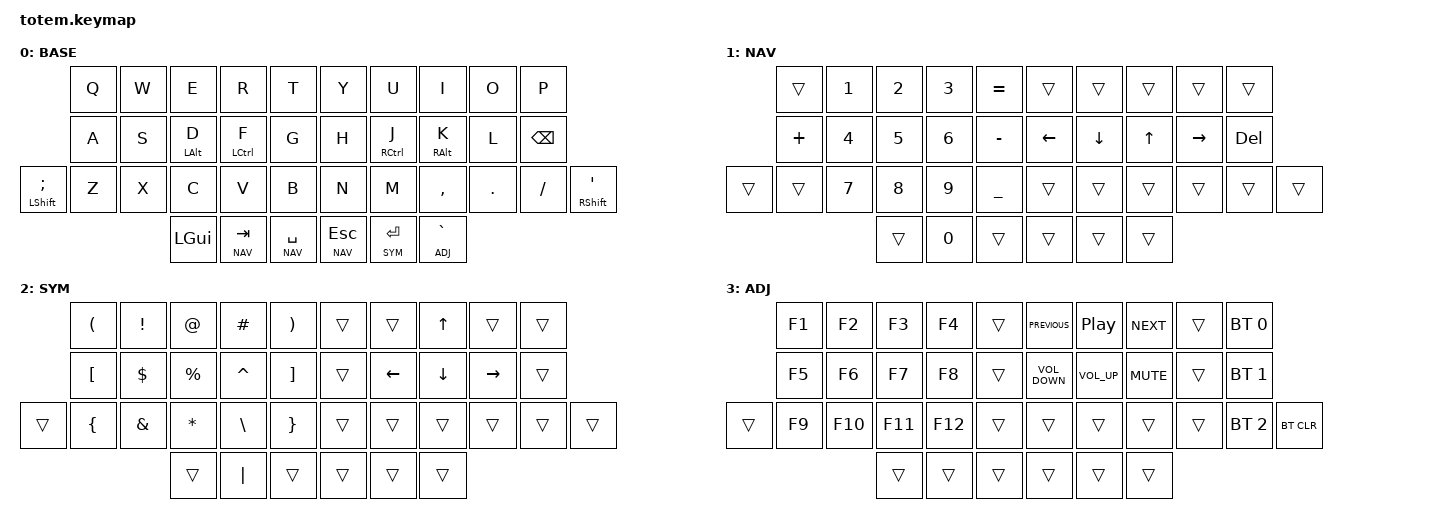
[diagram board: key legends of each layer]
//
//                                                        ▀▀▀▀▀     ▀▀▀▀▀          ▀▀█▀▀
//                                                        ▄▀▀▀▄  ▄  ▄▀▀▀▄  ▄  ▄▀▀▀▄  █  ▄▀▀▀▄
//                                                        █   █  █  █   █  █  █   █  █  █   █
//                                                         ▀▀▀   █   ▀▀▀   █   ▀▀▀   ▀   ▀▀▀
//                                                               █      ▄▄▄█▄▄▄    █   █  
//                                                               ▀      █  █  █     █▄█
//                                                             ▀▀▀▀▀    █  █  █      ▀
//                                                                      ▀  ▀  ▀
//
// ▄▄▄▄▄▄▄▄▄▄▄▄▄▄▄▄▄▄▄▄▄▄▄▄▄▄▄▄▄▄▄▄▄▄▄▄▄▄▄▄▄▄▄▄▄▄▄▄▄▄▄▄▄▄▄▄▄▄▄▄▄▄▄▄▄▄▄▄▄▄▄▄▄▄▄▄▄▄▄▄▄▄▄▄▄▄▄▄▄▄▄▄▄▄▄▄▄▄▄▄▄▄▄▄▄▄▄▄▄▄▄▄▄▄▄▄▄▄▄▄▄▄▄▄▄▄▄▄▄▄▄▄▄▄▄▄▄▄▄▄▄▄▄▄▄▄▄▄▄
       

#include <behaviors.dtsi>
#include <dt-bindings/zmk/keys.h>
#include <dt-bindings/zmk/bt.h>
#include <dt-bindings/zmk/outputs.h>

#define BASE 0
#define NAV  1
#define SYM  2
#define ADJ  3

&mt {
    quick-tap-ms = <100>;
    global-quick-tap;
    flavor = "tap-preferred";
    tapping-term-ms = <170>;
};

/ {
    combos {
        compatible = "zmk,combos";
        combo_esc {
            timeout-ms = <50>;
            key-positions = <0 1>;
            bindings = <&kp ESC>;
        };
    };

    macros {
        gif: gif {
            label = "giphy";
            compatible = "zmk,behavior-macro";
            #binding-cells = <0>;
            bindings
                = <&macro_press &kp LSHFT>
                , <&macro_tap &kp N2>
                , <&macro_release &kp LSHFT>
                , <&macro_tap &kp G &kp I &kp F>
                ;
        };
    };

    keymap {
        compatible = "zmk,keymap";
// ▄▄▄▄▄▄▄▄▄▄▄▄▄▄▄▄▄▄▄▄▄▄▄▄▄▄▄▄▄▄▄▄▄▄▄▄▄▄▄▄▄▄▄▄▄▄▄▄▄▄▄▄▄▄▄▄▄▄▄▄▄▄▄▄▄▄▄▄▄▄▄▄▄▄▄▄▄▄▄▄▄▄▄▄▄▄▄▄▄▄▄▄▄▄▄▄▄▄▄▄▄▄▄▄▄▄▄▄▄▄▄▄▄▄▄▄▄▄▄▄▄▄▄▄▄▄▄▄▄▄▄▄▄▄▄▄▄▄▄▄▄▄▄▄▄▄▄▄▄

        base_layer {
// ┏━━━━━━━━━━━━━━━━━━━━━━━━━━━━━━━━━━━━━━━┓
label= "BASE"                              ;
// ┗━━━━━━━━━━━━━━━━━━━━━━━━━━━━━━━━━━━━━━━┛
//             ┏━━━━━━━━━━━┳━━━━━━━━━━━┳━━━━━━━━━━━┳━━━━━━━━━━━┳━━━━━━━━━━━┓   ┏━━━━━━━━━━━┳━━━━━━━━━━━┳━━━━━━━━━━━┳━━━━━━━━━━━┳━━━━━━━━━━━┓
//             ┃     Q     ┃     W     ┃     E     ┃     R     ┃     T     ┃   ┃     Y     ┃     U     ┃     I     ┃     O     ┃     P     ┃
//             ┣━━━━━━━━━━━╋━━━━━━━━━━━╋━━━━━━━━━━━╋━━━━━━━━━━━╋━━━━━━━━━━━┫   ┣━━━━━━━━━━━╋━━━━━━━━━━━╋━━━━━━━━━━━╋━━━━━━━━━━━╋━━━━━━━━━━━┫
//             ┃     A     ┃     S     ┃  D (ALT)  ┃ F (CTRL)  ┃     G     ┃   ┃     H     ┃ J (CTRL)  ┃  K (ALT)  ┃     L     ┃   BSPC    ┃
// ┏━━━━━━━━━━━╋━━━━━━━━━━━╋━━━━━━━━━━━╋━━━━━━━━━━━╋━━━━━━━━━━━╋━━━━━━━━━━━┫   ┣━━━━━━━━━━━╋━━━━━━━━━━━╋━━━━━━━━━━━╋━━━━━━━━━━━╋━━━━━━━━━━━╋━━━━━━━━━━━┓
// ┃ ; (SHIFT) ┃     Z     ┃     X     ┃     C     ┃     V     ┃     B     ┃   ┃     N     ┃     M     ┃     ,     ┃     .     ┃     /     ┃ ' (SHIFT) ┃
// ┗━━━━━━━━━━━┻━━━━━━━━━━━┻━━━━━━━━━━━╋━━━━━━━━━━━╋━━━━━━━━━━━╋━━━━━━━━━━━┫   ┣━━━━━━━━━━━╋━━━━━━━━━━━╋━━━━━━━━━━━╋━━━━━━━━━━━┻━━━━━━━━━━━┻━━━━━━━━━━━┛
//                                     ┃   LGUI    ┃ TAB (NAV) ┃ SPC (NAV) ┃   ┃ ESC (NAV) ┃ RET (SYM) ┃ DEL (ADJ) ┃
//                                     ┗━━━━━━━━━━━┻━━━━━━━━━━━┻━━━━━━━━━━━┛   ┗━━━━━━━━━━━┻━━━━━━━━━━━┻━━━━━━━━━━━┛
            bindings = <
// ╷               ╷               ╷               ╷               ╷               ╷               ╷   ╷               ╷               ╷               ╷               ╷               ╷               ╷

                                    &kp Q           &kp W           &kp E           &kp R           &kp T               &kp Y           &kp U           &kp I           &kp O           &kp P
                                    &kp A           &kp S           &mt LALT D      &mt LCTRL F     &kp G               &kp H           &mt RCTRL J     &mt RALT K      &kp L           &kp BSPC
                &mt LSHIFT SEMI     &kp Z           &kp X           &kp C           &kp V           &kp B               &kp N           &kp M           &kp COMMA       &kp DOT         &kp FSLH        &mt RSHIFT SQT
                                                                    &kp LGUI        &lt NAV TAB     &lt NAV SPACE       &lt NAV ESC     &lt SYM RET     &lt ADJ GRAVE
            >;
        };

// ▄▄▄▄▄▄▄▄▄▄▄▄▄▄▄▄▄▄▄▄▄▄▄▄▄▄▄▄▄▄▄▄▄▄▄▄▄▄▄▄▄▄▄▄▄▄▄▄▄▄▄▄▄▄▄▄▄▄▄▄▄▄▄▄▄▄▄▄▄▄▄▄▄▄▄▄▄▄▄▄▄▄▄▄▄▄▄▄▄▄▄▄▄▄▄▄▄▄▄▄▄▄▄▄▄▄▄▄▄▄▄▄▄▄▄▄▄▄▄▄▄▄▄▄▄▄▄▄▄▄▄▄▄▄▄▄▄▄▄▄▄▄▄▄▄▄▄▄▄

        nav_layer {
// ┏━━━━━━━━━━━━━━━━━━━━━━━━━━━━━━━━━━━━━━━┓
label= "NAV"                               ;
// ┗━━━━━━━━━━━━━━━━━━━━━━━━━━━━━━━━━━━━━━━┛
//             ┏━━━━━━━━━━━┳━━━━━━━━━━━┳━━━━━━━━━━━┳━━━━━━━━━━━┳━━━━━━━━━━━┓   ┏━━━━━━━━━━━┳━━━━━━━━━━━┳━━━━━━━━━━━┳━━━━━━━━━━━┳━━━━━━━━━━━┓
//             ┃    ---    ┃     1     ┃     2     ┃     3     ┃     =     ┃   ┃    ---    ┃    ---    ┃    ---    ┃    ---    ┃    ---    ┃
//             ┣━━━━━━━━━━━╋━━━━━━━━━━━╋━━━━━━━━━━━╋━━━━━━━━━━━╋━━━━━━━━━━━┫   ┣━━━━━━━━━━━╋━━━━━━━━━━━╋━━━━━━━━━━━╋━━━━━━━━━━━╋━━━━━━━━━━━┫
//             ┃     +     ┃     4     ┃     5     ┃     6     ┃     -     ┃   ┃    LEFT   ┃    DOWN   ┃     UP    ┃   RIGHT   ┃    DEL    ┃
// ┏━━━━━━━━━━━╋━━━━━━━━━━━╋━━━━━━━━━━━╋━━━━━━━━━━━╋━━━━━━━━━━━╋━━━━━━━━━━━┫   ┣━━━━━━━━━━━╋━━━━━━━━━━━╋━━━━━━━━━━━╋━━━━━━━━━━━╋━━━━━━━━━━━╋━━━━━━━━━━━┓
// ┃    ---    ┃    ---    ┃     7     ┃     8     ┃     9     ┃     _     ┃   ┃    ---    ┃    ---    ┃    ---    ┃    ---    ┃    ---    ┃    ---    ┃
// ┗━━━━━━━━━━━┻━━━━━━━━━━━┻━━━━━━━━━━━╋━━━━━━━━━━━╋━━━━━━━━━━━╋━━━━━━━━━━━┫   ┣━━━━━━━━━━━╋━━━━━━━━━━━╋━━━━━━━━━━━╋━━━━━━━━━━━┻━━━━━━━━━━━┻━━━━━━━━━━━┛
//                                     ┃    ---    ┃     0     ┃    ---    ┃   ┃    ---    ┃    ---    ┃    ---    ┃
//                                     ┗━━━━━━━━━━━┻━━━━━━━━━━━┻━━━━━━━━━━━┛   ┗━━━━━━━━━━━┻━━━━━━━━━━━┻━━━━━━━━━━━┛
            bindings = <
// ╷               ╷               ╷               ╷               ╷               ╷               ╷   ╷               ╷               ╷               ╷               ╷               ╷               ╷

                                    &trans          &kp N1          &kp N2          &kp N3          &kp EQUAL           &trans          &trans          &trans          &trans          &trans
                                    &kp PLUS        &kp N4          &kp N5          &kp N6          &kp MINUS           &kp LEFT        &kp DOWN        &kp UP          &kp RIGHT       &kp DEL
                &trans              &trans          &kp N7          &kp N8          &kp N9          &kp UNDER           &trans          &trans          &trans          &trans          &trans          &trans
                                                                    &trans          &kp N0          &trans              &trans          &trans          &trans
            >;
        };

// ▄▄▄▄▄▄▄▄▄▄▄▄▄▄▄▄▄▄▄▄▄▄▄▄▄▄▄▄▄▄▄▄▄▄▄▄▄▄▄▄▄▄▄▄▄▄▄▄▄▄▄▄▄▄▄▄▄▄▄▄▄▄▄▄▄▄▄▄▄▄▄▄▄▄▄▄▄▄▄▄▄▄▄▄▄▄▄▄▄▄▄▄▄▄▄▄▄▄▄▄▄▄▄▄▄▄▄▄▄▄▄▄▄▄▄▄▄▄▄▄▄▄▄▄▄▄▄▄▄▄▄▄▄▄▄▄▄▄▄▄▄▄▄▄▄▄▄▄▄

        sym_layer {
// ┏━━━━━━━━━━━━━━━━━━━━━━━━━━━━━━━━━━━━━━━┓
label= "SYM"                               ;
// ┗━━━━━━━━━━━━━━━━━━━━━━━━━━━━━━━━━━━━━━━┛
//             ┏━━━━━━━━━━━┳━━━━━━━━━━━┳━━━━━━━━━━━┳━━━━━━━━━━━┳━━━━━━━━━━━┓   ┏━━━━━━━━━━━┳━━━━━━━━━━━┳━━━━━━━━━━━┳━━━━━━━━━━━┳━━━━━━━━━━━┓
//             ┃     {     ┃     !     ┃     @     ┃     #     ┃     }     ┃   ┃    ---    ┃    ---    ┃     UP    ┃    ---    ┃    ---    ┃
//             ┣━━━━━━━━━━━╋━━━━━━━━━━━╋━━━━━━━━━━━╋━━━━━━━━━━━╋━━━━━━━━━━━┫   ┣━━━━━━━━━━━╋━━━━━━━━━━━╋━━━━━━━━━━━╋━━━━━━━━━━━╋━━━━━━━━━━━┫
//             ┃     [     ┃     $     ┃     %     ┃     ^     ┃     ]     ┃   ┃    ---    ┃    LEFT   ┃    DOWN   ┃   RIGHT   ┃    ---    ┃
// ┏━━━━━━━━━━━╋━━━━━━━━━━━╋━━━━━━━━━━━╋━━━━━━━━━━━╋━━━━━━━━━━━╋━━━━━━━━━━━┫   ┣━━━━━━━━━━━╋━━━━━━━━━━━╋━━━━━━━━━━━╋━━━━━━━━━━━╋━━━━━━━━━━━╋━━━━━━━━━━━┓
// ┃    ---    ┃     (     ┃     &     ┃     *     ┃     \     ┃     )     ┃   ┃    ---    ┃    ---    ┃    ---    ┃    ---    ┃    ---    ┃    ---    ┃
// ┗━━━━━━━━━━━┻━━━━━━━━━━━┻━━━━━━━━━━━╋━━━━━━━━━━━╋━━━━━━━━━━━╋━━━━━━━━━━━┫   ┣━━━━━━━━━━━╋━━━━━━━━━━━╋━━━━━━━━━━━╋━━━━━━━━━━━┻━━━━━━━━━━━┻━━━━━━━━━━━┛
//                                     ┃    ---    ┃     |     ┃    ---    ┃   ┃    ---    ┃    ---    ┃    ---    ┃
//                                     ┗━━━━━━━━━━━┻━━━━━━━━━━━┻━━━━━━━━━━━┛   ┗━━━━━━━━━━━┻━━━━━━━━━━━┻━━━━━━━━━━━┛
            bindings = <
// ╷               ╷               ╷               ╷               ╷               ╷               ╷   ╷               ╷               ╷               ╷               ╷               ╷               ╷

                                    &kp LPAR        &kp EXCL        &kp AT          &kp POUND       &kp RPAR            &trans          &trans          &kp UP          &trans          &trans
                                    &kp LBKT        &kp DLLR        &kp PRCNT       &kp CARET       &kp RBKT            &trans          &kp LEFT        &kp DOWN        &kp RIGHT       &trans
                &trans              &kp LBRC        &kp AMPS        &kp STAR        &kp BSLH        &kp RBRC            &trans          &trans          &trans          &trans          &trans          &trans
                                                                    &trans          &kp PIPE        &trans              &trans          &trans          &trans
            >;
        };

// ▄▄▄▄▄▄▄▄▄▄▄▄▄▄▄▄▄▄▄▄▄▄▄▄▄▄▄▄▄▄▄▄▄▄▄▄▄▄▄▄▄▄▄▄▄▄▄▄▄▄▄▄▄▄▄▄▄▄▄▄▄▄▄▄▄▄▄▄▄▄▄▄▄▄▄▄▄▄▄▄▄▄▄▄▄▄▄▄▄▄▄▄▄▄▄▄▄▄▄▄▄▄▄▄▄▄▄▄▄▄▄▄▄▄▄▄▄▄▄▄▄▄▄▄▄▄▄▄▄▄▄▄▄▄▄▄▄▄▄▄▄▄▄▄▄▄▄▄▄

        adjust_layer {
// ┏━━━━━━━━━━━━━━━━━━━━━━━━━━━━━━━━━━━━━━━┓
label= "ADJ"                               ;
// ┗━━━━━━━━━━━━━━━━━━━━━━━━━━━━━━━━━━━━━━━┛
//             ┏━━━━━━━━━━━┳━━━━━━━━━━━┳━━━━━━━━━━━┳━━━━━━━━━━━┳━━━━━━━━━━━┓   ┏━━━━━━━━━━━┳━━━━━━━━━━━┳━━━━━━━━━━━┳━━━━━━━━━━━┳━━━━━━━━━━━┓
//             ┃    F1     ┃    F2     ┃    F3     ┃    F4     ┃    ---    ┃   ┃   PREV    ┃   PLAY    ┃   NEXT    ┃    ---    ┃   BT 0    ┃
//             ┣━━━━━━━━━━━╋━━━━━━━━━━━╋━━━━━━━━━━━╋━━━━━━━━━━━╋━━━━━━━━━━━┫   ┣━━━━━━━━━━━╋━━━━━━━━━━━╋━━━━━━━━━━━╋━━━━━━━━━━━╋━━━━━━━━━━━┫
//             ┃    F5     ┃    F6     ┃    F7     ┃    F8     ┃    ---    ┃   ┃   VOL-    ┃   VOL+    ┃   MUTE    ┃    ---    ┃   BT 1    ┃
// ┏━━━━━━━━━━━╋━━━━━━━━━━━╋━━━━━━━━━━━╋━━━━━━━━━━━╋━━━━━━━━━━━╋━━━━━━━━━━━┫   ┣━━━━━━━━━━━╋━━━━━━━━━━━╋━━━━━━━━━━━╋━━━━━━━━━━━╋━━━━━━━━━━━╋━━━━━━━━━━━┓
// ┃    ---    ┃    F9     ┃   F10     ┃   F11     ┃   F12     ┃    ---    ┃   ┃    ---    ┃    ---    ┃    ---    ┃    ---    ┃   BT 2    ┃  BT CLR   ┃
// ┗━━━━━━━━━━━┻━━━━━━━━━━━┻━━━━━━━━━━━╋━━━━━━━━━━━╋━━━━━━━━━━━╋━━━━━━━━━━━┫   ┣━━━━━━━━━━━╋━━━━━━━━━━━╋━━━━━━━━━━━╋━━━━━━━━━━━┻━━━━━━━━━━━┻━━━━━━━━━━━┛
//                                     ┃    ---    ┃    ---    ┃    ---    ┃   ┃    ---    ┃    ---    ┃    ---    ┃
//                                     ┗━━━━━━━━━━━┻━━━━━━━━━━━┻━━━━━━━━━━━┛   ┗━━━━━━━━━━━┻━━━━━━━━━━━┻━━━━━━━━━━━┛
            bindings = <
// ╷               ╷               ╷               ╷               ╷               ╷               ╷   ╷               ╷               ╷               ╷               ╷               ╷               ╷

                                    &kp F1          &kp F2          &kp F3          &kp F4          &trans              &kp C_PREVIOUS  &kp C_PLAY_PAUSE &kp C_NEXT      &trans          &bt BT_SEL 0
                                    &kp F5          &kp F6          &kp F7          &kp F8          &trans              &kp C_VOLUME_DOWN &kp C_VOLUME_UP &kp C_MUTE     &trans          &bt BT_SEL 1
                &trans              &kp F9          &kp F10         &kp F11         &kp F12         &trans              &trans          &trans          &trans          &trans          &bt BT_SEL 2    &bt BT_CLR
                                                                    &trans          &trans          &trans              &trans          &trans          &trans
            >;
        };

// ▄▄▄▄▄▄▄▄▄▄▄▄▄▄▄▄▄▄▄▄▄▄▄▄▄▄▄▄▄▄▄▄▄▄▄▄▄▄▄▄▄▄▄▄▄▄▄▄▄▄▄▄▄▄▄▄▄▄▄▄▄▄▄▄▄▄▄▄▄▄▄▄▄▄▄▄▄▄▄▄▄▄▄▄▄▄▄▄▄▄▄▄▄▄▄▄▄▄▄▄▄▄▄▄▄▄▄▄▄▄▄▄▄▄▄▄▄▄▄▄▄▄▄▄▄▄▄▄▄▄▄▄▄▄▄▄▄▄▄▄▄▄▄▄▄▄▄▄▄
    };
};
